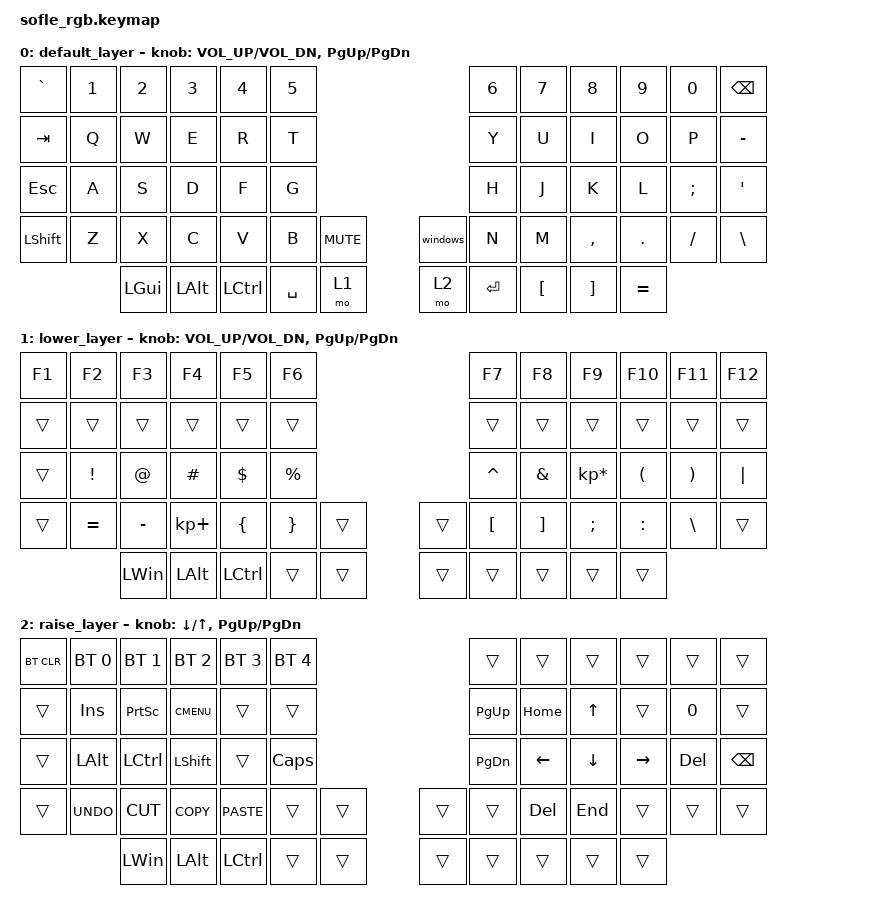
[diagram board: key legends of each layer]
/*
 * Copyright (c) 2020 The ZMK Contributors
 *
 * SPDX-License-Identifier: MIT
 */

#include <behaviors.dtsi>
#include <dt-bindings/zmk/keys.h>
#include <dt-bindings/zmk/bt.h>

/ {
    macros {
        windows: windows {
            compatible = "zmk,behavior-macro";
            label = "new_macro";
            #binding-cells = <0>;
            bindings =
                <&macro_press>,
                <&kp LGUI>,
                <&macro_tap>,
                <&kp R>,
                <&macro_release>,
                <&kp LGUI>,
                <&macro_tap>,
                <&kp W &kp T &kp ENTER>;
        };
    };

    combos {
        compatible = "zmk,combos";

        new_combo {
            bindings = <&windows>;
            key-positions = <50 17>;
        };
    };

    keymap {
        compatible = "zmk,keymap";

        default_layer {
            // ------------------------------------------------------------------------------------------------------------
            // |  `    |  1  |  2  |  3   |  4   |  5   |                   |  6   |  7    |  8    |  9   |   0   |       |
            // |  ESC  |  Q  |  W  |  E   |  R   |  T   |                   |  Y   |  U    |  I    |  O   |   P   | BKSPC |
            // |  TAB  |  A  |  S  |  D   |  F   |  G   |                   |  H   |  J    |  K    |  L   |   ;   |   '   |
            // | SHIFT |  Z  |  X  |  C   |  V   |  B   |  MUTE  |  |       |  N   |  M    |  ,    |  .   |   /   | SHIFT |
            //               | GUI | ALT  | CTRL | LOWER|  ENTER |  | SPACE | RAISE| CTRL  | ALT   | GUI  |

            bindings = <
 &kp GRAVE  &kp N1    &kp N2    &kp N3     &kp N4     &kp N5                           &kp N6    &kp N7     &kp N8     &kp N9    &kp N0  &kp BACKSPACE
   &kp TAB   &kp Q     &kp W     &kp E      &kp R      &kp T                            &kp Y     &kp U      &kp I      &kp O     &kp P      &kp MINUS
   &kp ESC   &kp A     &kp S     &kp D      &kp F      &kp G                            &kp H     &kp J      &kp K      &kp L  &kp SEMI        &kp SQT
 &kp LSHFT   &kp Z     &kp X     &kp C      &kp V      &kp B  &kp C_MUTE  &windows      &kp N     &kp M  &kp COMMA    &kp DOT  &kp FSLH  &kp BACKSLASH
                    &kp LGUI  &kp LALT  &kp LCTRL  &kp SPACE       &mo 1     &mo 2  &kp ENTER  &kp LBKT   &kp RBKT  &kp EQUAL
            >;

            sensor-bindings = <&inc_dec_kp C_VOL_UP C_VOL_DN &inc_dec_kp PG_UP PG_DN>;
        };

        lower_layer {
            // TODO: Some binds are waiting for shifted keycode support.
            // ------------------------------------------------------------------------------------------------------------
            // |       |  F1 |  F2 |  F3  |  F4  |  F5  |                   |  F6  |  F7   |  F8   |  F9  |  F10  |  F11  |
            // | `     |   1 |   2 |   3  |   4  |   5  |                   |   6  |   7   |   8   |   9  |    0  |  F12  |
            // |       |  !  |  @  |  #   |  $   |  %   |                   |  ^   |  &    |  *    |  (   |   )   |   |   |
            // |       |  =  |  -  |  +   |  {   |  }   |        |  |       |  [   |  ]    |  ;    |  :   |   \   |       |
            //               |     |      |      |      |        |  |       |      |       |       |      |

            bindings = <
 &kp F1     &kp F2     &kp F3       &kp F4     &kp F5     &kp F6                     &kp F7    &kp F8           &kp F9    &kp F10   &kp F11   &kp F12
 &trans     &trans     &trans       &trans     &trans     &trans                     &trans    &trans           &trans     &trans    &trans    &trans
 &trans   &kp EXCL     &kp AT     &kp HASH   &kp DLLR  &kp PRCNT                  &kp CARET  &kp AMPS  &kp KP_MULTIPLY   &kp LPAR  &kp RPAR  &kp PIPE
 &trans  &kp EQUAL  &kp MINUS  &kp KP_PLUS   &kp LBRC   &kp RBRC  &trans  &trans   &kp LBKT  &kp RBKT         &kp SEMI  &kp COLON  &kp BSLH    &trans
                     &kp LWIN     &kp LALT  &kp LCTRL     &trans  &trans  &trans     &trans    &trans           &trans     &trans
            >;

            sensor-bindings = <&inc_dec_kp C_VOL_UP C_VOL_DN &inc_dec_kp PG_UP PG_DN>;
        };

        raise_layer {
            // ------------------------------------------------------------------------------------------------------------
            // |BTCLR| BT1  | BT2  |  BT3  |  BT4  |  BT5 |                |      |      |       |      |       |       |
            // |     | INS  | PSCR | GUI   |       |      |                | PGUP |      |   ^   |      |       |       |
            // |     | ALT  | CTRL | SHIFT |       | CAPS |                | PGDN |   <- |   v   |  ->  |  DEL  | BKSPC |
            // |     | UNDO | CUT  | COPY  | PASTE |      |      |  |      |      |      |       |      |       |       |
            //              |      |       |       |      |      |  |      |      |      |       |      |

            bindings = <
 &bt BT_CLR  &bt BT_SEL 0  &bt BT_SEL 1  &bt BT_SEL 2  &bt BT_SEL 3  &bt BT_SEL 4                     &trans    &trans    &trans     &trans   &trans    &trans
     &trans       &kp INS     &kp PSCRN   &kp K_CMENU        &trans        &trans                  &kp PG_UP  &kp HOME    &kp UP     &trans   &kp N0    &trans
     &trans      &kp LALT     &kp LCTRL     &kp LSHFT        &trans      &kp CLCK                  &kp PG_DN  &kp LEFT  &kp DOWN  &kp RIGHT  &kp DEL  &kp BSPC
     &trans    &kp K_UNDO     &kp K_CUT    &kp K_COPY   &kp K_PASTE        &trans  &trans  &trans     &trans   &kp DEL   &kp END     &trans   &trans    &trans
                               &kp LWIN      &kp LALT     &kp LCTRL        &trans  &trans  &trans     &trans    &trans    &trans     &trans
            >;

            sensor-bindings = <&inc_dec_kp DOWN UP_ARROW &inc_dec_kp PG_UP PG_DN>;
        };
    };
};
